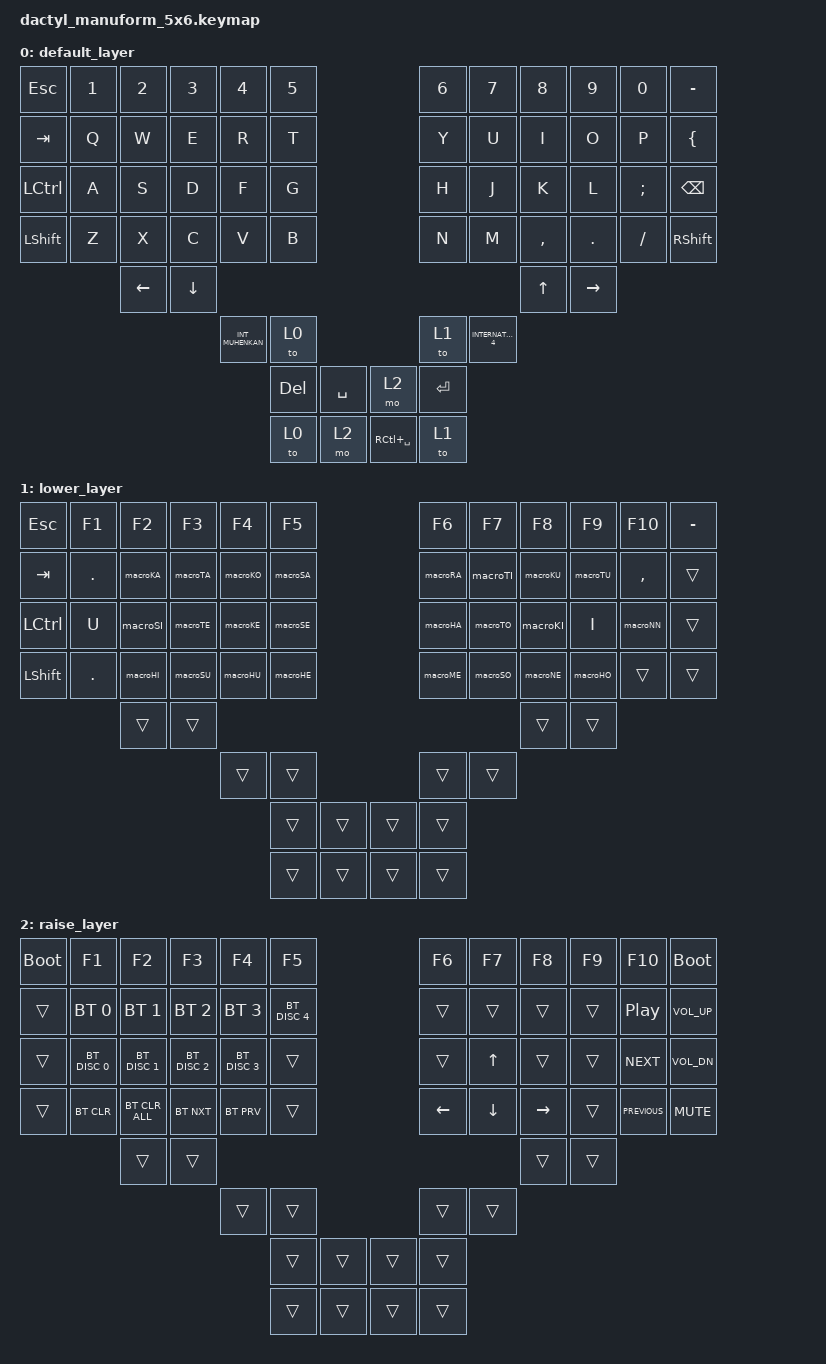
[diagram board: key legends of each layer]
#include <behaviors.dtsi>
#include <dt-bindings/zmk/bt.h>
#include <dt-bindings/zmk/keys.h>

#define DEFAULT 0
#define LWR 1
#define RSE 2
#define ADJ 3

/ {
    behaviors {
        F2_F5: F2_F5 {
            compatible = "zmk,behavior-tap-dance";
            label = "F2_F5";
            #binding-cells = <0>;
            bindings = <&kp F2>, <&kp F5>;
        };

        Bracket: Bracket {
            compatible = "zmk,behavior-tap-dance";
            label = "BRACKET";
            #binding-cells = <0>;
            bindings = <&kp LBKT>, <&kp RBKT>;
        };

        DMP: DMP {
            compatible = "zmk,behavior-tap-dance";
            label = "DMP";
            #binding-cells = <0>;
            bindings = <&kp C_VOL_DN>, <&kp C_MUTE>, <&kp C_PREVIOUS>;
        };

        UPN: UPN {
            compatible = "zmk,behavior-tap-dance";
            label = "UPN";
            #binding-cells = <0>;
            bindings = <&kp C_VOLUME_UP>, <&kp C_PLAY_PAUSE>, <&kp C_NEXT>;
        };

        BSLH_GRV: BSLH_GRV {
            compatible = "zmk,behavior-tap-dance";
            label = "BSLH_GRV";
            #binding-cells = <0>;
            bindings = <&kp BSLH>, <&kp GRAVE>;
        };
    };

    macros {
        macro_LCSP1: macro_LCSP1 {
            compatible = "zmk,behavior-macro";
            label = "macro_LCSP1";
            #binding-cells = <0>;
            bindings = <&kp LC(SPACE) &tog 1>;
        };

        ctsp: ctsp {
            compatible = "zmk,behavior-macro";
            #binding-cells = <0>;
            bindings = <&kp LEFT_CONTROL &kp SPACE>;
            label = "CTSP";
        };

        macroKA: macroKA {
            compatible = "zmk,behavior-macro";
            #binding-cells = <0>;
            bindings = <&kp K &kp A>;
            label = "MACROKA";
        };

        macroKI: macroKI {
            compatible = "zmk,behavior-macro";
            #binding-cells = <0>;
            bindings = <&kp K &kp I>;
            label = "MACROKI";
        };

        macroKU: macroKU {
            compatible = "zmk,behavior-macro";
            #binding-cells = <0>;
            bindings = <&kp K &kp U>;
            label = "MACROKU";
        };

        macroKE: macroKE {
            compatible = "zmk,behavior-macro";
            #binding-cells = <0>;
            bindings = <&kp K &kp E>;
            label = "MACROKE";
        };

        macroKO: macroKO {
            compatible = "zmk,behavior-macro";
            #binding-cells = <0>;
            bindings = <&kp K &kp O>;
            label = "MACROKO";
        };

        macroSA: macroSA {
            compatible = "zmk,behavior-macro";
            #binding-cells = <0>;
            bindings = <&kp S &kp A>;
            label = "MACROSA";
        };

        macroSI: macroSI {
            compatible = "zmk,behavior-macro";
            #binding-cells = <0>;
            bindings = <&kp S &kp I>;
            label = "MACROSI";
        };

        macroSU: macroSU {
            compatible = "zmk,behavior-macro";
            #binding-cells = <0>;
            bindings = <&kp S &kp U>;
            label = "MACROSU";
        };

        macroSE: macroSE {
            compatible = "zmk,behavior-macro";
            #binding-cells = <0>;
            bindings = <&kp S &kp E>;
            label = "MACROSE";
        };

        macroSO: macroSO {
            compatible = "zmk,behavior-macro";
            #binding-cells = <0>;
            bindings = <&kp S &kp O>;
            label = "MACROSO";
        };

        macroTA: macroTA {
            compatible = "zmk,behavior-macro";
            #binding-cells = <0>;
            bindings = <&kp T &kp A>;
            label = "MACROTA";
        };

        macroTI: macroTI {
            compatible = "zmk,behavior-macro";
            #binding-cells = <0>;
            bindings = <&kp T &kp I>;
            label = "MACROTI";
        };

        macroTU: macroTU {
            compatible = "zmk,behavior-macro";
            #binding-cells = <0>;
            bindings = <&kp T &kp U>;
            label = "MACROTU";
        };

        macroTE: macroTE {
            compatible = "zmk,behavior-macro";
            #binding-cells = <0>;
            bindings = <&kp T &kp E>;
            label = "MACROTE";
        };

        macroTO: macroTO {
            compatible = "zmk,behavior-macro";
            #binding-cells = <0>;
            bindings = <&kp T &kp O>;
            label = "MACROTO";
        };

        macroNA: macroNA {
            compatible = "zmk,behavior-macro";
            #binding-cells = <0>;
            bindings = <&kp N &kp A>;
            label = "MACRONA";
        };

        macroNI: macroNI {
            compatible = "zmk,behavior-macro";
            #binding-cells = <0>;
            bindings = <&kp N &kp I>;
            label = "MACRONI";
        };

        macroNU: macroNU {
            compatible = "zmk,behavior-macro";
            #binding-cells = <0>;
            bindings = <&kp N &kp U>;
            label = "MACRONU";
        };

        macroNE: macroNE {
            compatible = "zmk,behavior-macro";
            #binding-cells = <0>;
            bindings = <&kp N &kp E>;
            label = "MACRONE";
        };

        macroNO: macroNO {
            compatible = "zmk,behavior-macro";
            #binding-cells = <0>;
            bindings = <&kp N &kp O>;
            label = "MACRONO";
        };

        macroHA: macroHA {
            compatible = "zmk,behavior-macro";
            #binding-cells = <0>;
            bindings = <&kp H &kp A>;
            label = "MACROHA";
        };

        macroHI: macroHI {
            compatible = "zmk,behavior-macro";
            #binding-cells = <0>;
            bindings = <&kp H &kp I>;
            label = "MACROHI";
        };

        macroHU: macroHU {
            compatible = "zmk,behavior-macro";
            #binding-cells = <0>;
            bindings = <&kp H &kp U>;
            label = "MACROHU";
        };

        macroHE: macroHE {
            compatible = "zmk,behavior-macro";
            #binding-cells = <0>;
            bindings = <&kp H &kp E>;
            label = "MACROHE";
        };

        macroHO: macroHO {
            compatible = "zmk,behavior-macro";
            #binding-cells = <0>;
            bindings = <&kp H &kp O>;
            label = "MACROHO";
        };

        macroMA: macroMA {
            compatible = "zmk,behavior-macro";
            #binding-cells = <0>;
            bindings = <&kp M &kp A>;
            label = "MACROMA";
        };

        macroMI: macroMI {
            compatible = "zmk,behavior-macro";
            #binding-cells = <0>;
            bindings = <&kp M &kp I>;
            label = "MACROMI";
        };

        macroMU: macroMU {
            compatible = "zmk,behavior-macro";
            #binding-cells = <0>;
            bindings = <&kp M &kp U>;
            label = "MACROMU";
        };

        macroME: macroME {
            compatible = "zmk,behavior-macro";
            #binding-cells = <0>;
            bindings = <&kp M &kp E>;
            label = "MACROME";
        };

        macroMO: macroMO {
            compatible = "zmk,behavior-macro";
            #binding-cells = <0>;
            bindings = <&kp M &kp O>;
            label = "MACROMO";
        };

        macroYA: macroYA {
            compatible = "zmk,behavior-macro";
            #binding-cells = <0>;
            bindings = <&kp Y &kp A>;
            label = "MACROYA";
        };

        macroYU: macroYU {
            compatible = "zmk,behavior-macro";
            #binding-cells = <0>;
            bindings = <&kp Y &kp U>;
            label = "MACROYU";
        };

        macroYO: macroYO {
            compatible = "zmk,behavior-macro";
            #binding-cells = <0>;
            bindings = <&kp Y &kp O>;
            label = "MACROYO";
        };

        macroRA: macroRA {
            compatible = "zmk,behavior-macro";
            #binding-cells = <0>;
            bindings = <&kp R &kp A>;
            label = "MACRORA";
        };

        macroRI: macroRI {
            compatible = "zmk,behavior-macro";
            #binding-cells = <0>;
            bindings = <&kp R &kp I>;
            label = "MACRORI";
        };

        macroRU: macroRU {
            compatible = "zmk,behavior-macro";
            #binding-cells = <0>;
            bindings = <&kp R &kp U>;
            label = "MACRORU";
        };

        macroRE: macroRE {
            compatible = "zmk,behavior-macro";
            #binding-cells = <0>;
            bindings = <&kp R &kp E>;
            label = "MACRORE";
        };

        macroRO: macroRO {
            compatible = "zmk,behavior-macro";
            #binding-cells = <0>;
            bindings = <&kp R &kp O>;
            label = "MACRORO";
        };

        macroWA: macroWA {
            compatible = "zmk,behavior-macro";
            #binding-cells = <0>;
            bindings = <&kp W &kp A>;
            label = "MACROWA";
        };

        macroWO: macroWO {
            compatible = "zmk,behavior-macro";
            #binding-cells = <0>;
            bindings = <&kp W &kp O>;
            label = "MACROWO";
        };

        macroNN: macroNN {
            compatible = "zmk,behavior-macro";
            #binding-cells = <0>;
            bindings = <&kp N &kp N>;
            label = "MACRONN";
        };

        macroLya: macroLya {
            compatible = "zmk,behavior-macro";
            #binding-cells = <0>;
            bindings = <&kp L &kp Y &kp A>;
            label = "MACROLYA";
        };

        macroLyu: macroLyu {
            compatible = "zmk,behavior-macro";
            #binding-cells = <0>;
            bindings = <&kp L &kp Y &kp U>;
            label = "MACROLYU";
        };

        macroLyo: macroLyo {
            compatible = "zmk,behavior-macro";
            #binding-cells = <0>;
            bindings = <&kp L &kp Y &kp O>;
            label = "MACROLYO";
        };

        macroLa: macroLa {
            compatible = "zmk,behavior-macro";
            #binding-cells = <0>;
            bindings = <&kp L &kp A>;
            label = "MACROLA";
        };

        macroLi: macroLi {
            compatible = "zmk,behavior-macro";
            #binding-cells = <0>;
            bindings = <&kp L &kp I>;
            label = "MACROLI";
        };

        macroLu: macroLu {
            compatible = "zmk,behavior-macro";
            #binding-cells = <0>;
            bindings = <&kp L &kp U>;
            label = "MACROLU";
        };

        macroLe: macroLe {
            compatible = "zmk,behavior-macro";
            #binding-cells = <0>;
            bindings = <&kp L &kp E>;
            label = "MACROLE";
        };

        macroLo: macroLo {
            compatible = "zmk,behavior-macro";
            #binding-cells = <0>;
            bindings = <&kp L &kp O>;
            label = "MACROLO";
        };

        macroPA: macroPA {
            compatible = "zmk,behavior-macro";
            #binding-cells = <0>;
            bindings = <&kp P &kp A>;
            label = "MACROPA";
        };

        macroPI: macroPI {
            compatible = "zmk,behavior-macro";
            #binding-cells = <0>;
            bindings = <&kp P &kp I>;
            label = "MACROPI";
        };

        macroPU: macroPU {
            compatible = "zmk,behavior-macro";
            #binding-cells = <0>;
            bindings = <&kp P &kp U>;
            label = "MACROPU";
        };

        macroPE: macroPE {
            compatible = "zmk,behavior-macro";
            #binding-cells = <0>;
            bindings = <&kp P &kp E>;
            label = "MACROPE";
        };

        macroPO: macroPO {
            compatible = "zmk,behavior-macro";
            #binding-cells = <0>;
            bindings = <&kp P &kp O>;
            label = "MACROPO";
        };

        macroGA: macroGA {
            compatible = "zmk,behavior-macro";
            #binding-cells = <0>;
            bindings = <&kp G &kp A>;
            label = "MACROGA";
        };

        macroGI: macroGI {
            compatible = "zmk,behavior-macro";
            #binding-cells = <0>;
            bindings = <&kp G &kp I>;
            label = "MACROGI";
        };

        macroGU: macroGU {
            compatible = "zmk,behavior-macro";
            #binding-cells = <0>;
            bindings = <&kp G &kp U>;
            label = "MACROGU";
        };

        macroGE: macroGE {
            compatible = "zmk,behavior-macro";
            #binding-cells = <0>;
            bindings = <&kp G &kp E>;
            label = "MACROGE";
        };

        macroGO: macroGO {
            compatible = "zmk,behavior-macro";
            #binding-cells = <0>;
            bindings = <&kp G &kp O>;
            label = "MACROGO";
        };

        macroZA: macroZA {
            compatible = "zmk,behavior-macro";
            #binding-cells = <0>;
            bindings = <&kp Z &kp A>;
            label = "MACROZA";
        };

        macroZI: macroZI {
            compatible = "zmk,behavior-macro";
            #binding-cells = <0>;
            bindings = <&kp Z &kp I>;
            label = "MACROZI";
        };

        macroZU: macroZU {
            compatible = "zmk,behavior-macro";
            #binding-cells = <0>;
            bindings = <&kp Z &kp U>;
            label = "MACROZU";
        };

        macroZE: macroZE {
            compatible = "zmk,behavior-macro";
            #binding-cells = <0>;
            bindings = <&kp Z &kp E>;
            label = "MACROZE";
        };

        macroZO: macroZO {
            compatible = "zmk,behavior-macro";
            #binding-cells = <0>;
            bindings = <&kp Z &kp O>;
            label = "MACROZO";
        };

        macroDA: macroDA {
            compatible = "zmk,behavior-macro";
            #binding-cells = <0>;
            bindings = <&kp D &kp A>;
            label = "MACRODA";
        };

        macroDI: macroDI {
            compatible = "zmk,behavior-macro";
            #binding-cells = <0>;
            bindings = <&kp D &kp I>;
            label = "MACRODI";
        };

        macroDU: macroDU {
            compatible = "zmk,behavior-macro";
            #binding-cells = <0>;
            bindings = <&kp D &kp U>;
            label = "MACRODU";
        };

        macroDE: macroDE {
            compatible = "zmk,behavior-macro";
            #binding-cells = <0>;
            bindings = <&kp D &kp E>;
            label = "MACRODE";
        };

        macroDO: macroDO {
            compatible = "zmk,behavior-macro";
            #binding-cells = <0>;
            bindings = <&kp D &kp O>;
            label = "MACRODO";
        };

        macroBA: macroBA {
            compatible = "zmk,behavior-macro";
            #binding-cells = <0>;
            bindings = <&kp B &kp A>;
            label = "MACROBA";
        };

        macroBI: macroBI {
            compatible = "zmk,behavior-macro";
            #binding-cells = <0>;
            bindings = <&kp B &kp I>;
            label = "MACROBI";
        };

        macroBU: macroBU {
            compatible = "zmk,behavior-macro";
            #binding-cells = <0>;
            bindings = <&kp B &kp U>;
            label = "MACROBU";
        };

        macroBE: macroBE {
            compatible = "zmk,behavior-macro";
            #binding-cells = <0>;
            bindings = <&kp B &kp E>;
            label = "MACROBE";
        };

        macroBO: macroBO {
            compatible = "zmk,behavior-macro";
            #binding-cells = <0>;
            bindings = <&kp B &kp O>;
            label = "MACROBO";
        };

        macroLTU: macroLTU {
            compatible = "zmk,behavior-macro";
            #binding-cells = <0>;
            bindings = <&kp L &kp T &kp U>;
            label = "MACROLTU";
        };
    };

    combos {
        compatible = "zmk,combos";

        ComboA {
            bindings = <&kp A>;
            layers = <1>;
            key-positions = <55 26>;
            timeout-ms = <60>;
        };

        ComboE {
            bindings = <&kp E>;
            layers = <1>;
            key-positions = <52 14>;
            timeout-ms = <60>;
        };

        ComboO {
            bindings = <&kp O>;
            layers = <1>;
            key-positions = <55 31>;
            timeout-ms = <60>;
        };

        ComboNA {
            bindings = <&macroNA>;
            layers = <1>;
            key-positions = <52 27>;
            timeout-ms = <60>;
        };

        ComboNI {
            bindings = <&macroNI>;
            layers = <1>;
            key-positions = <55 19>;
            timeout-ms = <60>;
        };

        ComboNU {
            bindings = <&macroNU>;
            layers = <1>;
            key-positions = <55 42>;
            timeout-ms = <60>;
        };

        ComboNO {
            bindings = <&macroNO>;
            layers = <1>;
            key-positions = <55 32>;
            timeout-ms = <60>;
        };

        ComboMA {
            bindings = <&macroMA>;
            layers = <1>;
            key-positions = <55 21>;
            timeout-ms = <60>;
        };

        ComboMI {
            bindings = <&macroMI>;
            layers = <1>;
            key-positions = <55 30>;
            timeout-ms = <60>;
        };

        ComboMU {
            bindings = <&macroMU>;
            layers = <1>;
            key-positions = <55 44>;
            timeout-ms = <60>;
        };

        ComboMO {
            bindings = <&macroMO>;
            layers = <1>;
            key-positions = <52 29>;
            timeout-ms = <60>;
        };

        ComboYA {
            bindings = <&macroYA>;
            layers = <1>;
            key-positions = <52 40>;
            timeout-ms = <60>;
        };

        ComboYU {
            bindings = <&macroYU>;
            layers = <1>;
            key-positions = <55 43>;
            timeout-ms = <60>;
        };

        ComboYO {
            bindings = <&macroYO>;
            layers = <1>;
            key-positions = <55 18>;
            timeout-ms = <60>;
        };

        ComboRI {
            bindings = <&macroRI>;
            layers = <1>;
            key-positions = <52 15>;
            timeout-ms = <60>;
        };

        ComboRU {
            bindings = <&macroRU>;
            layers = <1>;
            key-positions = <55 20>;
            timeout-ms = <60>;
        };

        ComboRE {
            bindings = <&macroRE>;
            layers = <1>;
            key-positions = <52 17>;
            timeout-ms = <60>;
        };

        ComboRO {
            bindings = <&macroRO>;
            layers = <1>;
            key-positions = <52 39>;
            timeout-ms = <60>;
        };

        ComboWA {
            bindings = <&macroWA>;
            layers = <1>;
            key-positions = <55 45>;
            timeout-ms = <60>;
        };

        ComboWO {
            bindings = <&macroWO>;
            layers = <1>;
            key-positions = <25 52>;
            timeout-ms = <60>;
        };

        ComboLya {
            bindings = <&macroLya>;
            layers = <1>;
            key-positions = <52 16>;
            timeout-ms = <60>;
        };

        ComboLyu {
            bindings = <&macroLyu>;
            layers = <1>;
            key-positions = <52 28>;
            timeout-ms = <60>;
        };

        ComboLyo {
            bindings = <&macroLyo>;
            layers = <1>;
            key-positions = <55 33>;
            timeout-ms = <60>;
        };

        ComboLA {
            bindings = <&macroLa>;
            layers = <1>;
            key-positions = <52 13>;
            timeout-ms = <60>;
        };

        ComboLI {
            bindings = <&macroLi>;
            layers = <1>;
            key-positions = <52 41>;
            timeout-ms = <60>;
        };

        ComboLU {
            bindings = <&macroLu>;
            layers = <1>;
            key-positions = <52 37>;
            timeout-ms = <60>;
        };

        ComboLE {
            bindings = <&macroLe>;
            layers = <1>;
            key-positions = <55 22>;
            timeout-ms = <60>;
        };

        ComboLO {
            bindings = <&macroLo>;
            layers = <1>;
            key-positions = <55 46>;
            timeout-ms = <60>;
        };

        ComboPA {
            bindings = <&macroPA>;
            layers = <1>;
            key-positions = <18 52>;
            timeout-ms = <60>;
        };

        ComboPI {
            bindings = <&macroPI>;
            layers = <1>;
            key-positions = <22 52>;
            timeout-ms = <60>;
        };

        ComboPU {
            bindings = <&macroPU>;
            layers = <1>;
            key-positions = <52 42>;
            timeout-ms = <60>;
        };

        ComboPE {
            bindings = <&macroPE>;
            layers = <1>;
            key-positions = <52 44>;
            timeout-ms = <60>;
        };

        ComboPO {
            bindings = <&macroPO>;
            layers = <1>;
            key-positions = <52 33>;
            timeout-ms = <60>;
        };

        ComboGA {
            bindings = <&macroGA>;
            layers = <1>;
            key-positions = <55 14>;
            timeout-ms = <60>;
        };

        ComboGI {
            bindings = <&macroGI>;
            layers = <1>;
            key-positions = <52 32>;
            timeout-ms = <60>;
        };

        ComboGU {
            bindings = <&macroGU>;
            layers = <1>;
            key-positions = <52 20>;
            timeout-ms = <60>;
        };

        ComboGE {
            bindings = <&macroGE>;
            layers = <1>;
            key-positions = <55 28>;
            timeout-ms = <60>;
        };

        ComboGO {
            bindings = <&macroGO>;
            layers = <1>;
            key-positions = <55 16>;
            timeout-ms = <60>;
        };

        ComboZA {
            bindings = <&macroZA>;
            layers = <1>;
            key-positions = <55 17>;
            timeout-ms = <60>;
        };

        ComboZI {
            bindings = <&macroZI>;
            layers = <1>;
            key-positions = <55 26>;
            timeout-ms = <60>;
        };

        ComboZU {
            bindings = <&macroZU>;
            layers = <1>;
            key-positions = <39 55>;
            timeout-ms = <60>;
        };

        ComboZE {
            bindings = <&macroZE>;
            layers = <1>;
            key-positions = <29 55>;
            timeout-ms = <60>;
        };

        ComboZO {
            bindings = <&macroZO>;
            layers = <1>;
            key-positions = <52 43>;
            timeout-ms = <60>;
        };

        ComboDA {
            bindings = <&macroDA>;
            layers = <1>;
            key-positions = <15 55>;
            timeout-ms = <60>;
        };

        ComboDI {
            bindings = <&macroDI>;
            layers = <1>;
            key-positions = <52 19>;
            timeout-ms = <60>;
        };

        ComboDU {
            bindings = <&macroDU>;
            layers = <1>;
            key-positions = <52 21>;
            timeout-ms = <60>;
        };

        ComboDE {
            bindings = <&macroDE>;
            layers = <1>;
            key-positions = <27 55>;
            timeout-ms = <60>;
        };

        ComboDO {
            bindings = <&macroDO>;
            layers = <1>;
            key-positions = <52 31>;
            timeout-ms = <60>;
        };

        ComboBA {
            bindings = <&macroBA>;
            layers = <1>;
            key-positions = <30 52>;
            timeout-ms = <60>;
        };

        ComboBI {
            bindings = <&macroBI>;
            layers = <1>;
            key-positions = <55 38>;
            timeout-ms = <60>;
        };

        ComboBU {
            bindings = <&macroBU>;
            layers = <1>;
            key-positions = <40 55>;
            timeout-ms = <60>;
        };

        ComboBE {
            bindings = <&macroBE>;
            layers = <1>;
            key-positions = <41 55>;
            timeout-ms = <60>;
        };

        ComboBO {
            bindings = <&macroBO>;
            layers = <1>;
            key-positions = <52 45>;
            timeout-ms = <60>;
        };

        ComboLTU {
            bindings = <&macroLTU>;
            layers = <1>;
            key-positions = <55 34>;
            timeout-ms = <60>;
        };

        combo-- {
            bindings = <&kp MINUS>;
            key-positions = <52 38>;
        };
    };

    keymap {
        compatible = "zmk,keymap";

        default_layer {
            bindings = <
&kp ESCAPE        &kp N1  &kp N2    &kp N3    &kp N4            &kp N5                             &kp N6   &kp N7               &kp N8     &kp N9     &kp N0     &kp MINUS
&kp TAB           &kp Q   &kp W     &kp E     &kp R             &kp T                              &kp Y    &kp U                &kp I      &kp O      &kp P      &kp LEFT_BRACE
&kp LEFT_CONTROL  &kp A   &kp S     &kp D     &kp F             &kp G                              &kp H    &kp J                &kp K      &kp L      &kp SEMI   &kp BACKSPACE
&kp LEFT_SHIFT    &kp Z   &kp X     &kp C     &kp V             &kp B                              &kp N    &kp M                &kp COMMA  &kp DOT    &kp SLASH  &kp RIGHT_SHIFT
                          &kp LEFT  &kp DOWN                                                                                     &kp UP     &kp RIGHT
                                              &kp INT_MUHENKAN  &to 0                              &to 1    &kp INTERNATIONAL_4
                                                                &kp DEL  &kp SPACE  &mo 2          &kp RET
                                                                &to 0    &mo 2      &kp RC(SPACE)  &to 1
            >;
        };

        lower_layer {
            bindings = <
&kp ESCAPE        &kp F1      &kp F2    &kp F3    &kp F4    &kp F5                    &kp F6    &kp F7    &kp F8    &kp F9    &kp F10    &kp MINUS
&kp TAB           &kp PERIOD  &macroKA  &macroTA  &macroKO  &macroSA                  &macroRA  &macroTI  &macroKU  &macroTU  &kp COMMA  &trans
&kp LEFT_CONTROL  &kp U       &macroSI  &macroTE  &macroKE  &macroSE                  &macroHA  &macroTO  &macroKI  &kp I     &macroNN   &trans
&kp LEFT_SHIFT    &kp PERIOD  &macroHI  &macroSU  &macroHU  &macroHE                  &macroME  &macroSO  &macroNE  &macroHO  &trans     &trans
                              &trans    &trans                                                            &trans    &trans
                                                  &trans    &trans                    &trans    &trans
                                                            &trans    &trans  &trans  &trans
                                                            &trans    &trans  &trans  &trans
            >;
        };

        raise_layer {
            bindings = <
&bootloader  &kp F1         &kp F2          &kp F3         &kp F4         &kp F5                         &kp F6    &kp F7    &kp F8     &kp F9  &kp F10           &bootloader
&trans       &bt BT_SEL 0   &bt BT_SEL 1    &bt BT_SEL 2   &bt BT_SEL 3   &bt BT_DISC 4                  &trans    &trans    &trans     &trans  &kp C_PLAY_PAUSE  &kp K_VOL_UP
&trans       &bt BT_DISC 0  &bt BT_DISC 1   &bt BT_DISC 2  &bt BT_DISC 3  &trans                         &trans    &kp UP    &trans     &trans  &kp C_NEXT        &kp K_VOL_DN
&trans       &bt BT_CLR     &bt BT_CLR_ALL  &bt BT_NXT     &bt BT_PRV     &trans                         &kp LEFT  &kp DOWN  &kp RIGHT  &trans  &kp C_PREVIOUS    &kp K_MUTE
                            &trans          &trans                                                                           &trans     &trans
                                                           &trans         &trans                         &trans    &trans
                                                                          &trans         &trans  &trans  &trans
                                                                          &trans         &trans  &trans  &trans
            >;
        };
    };
};
